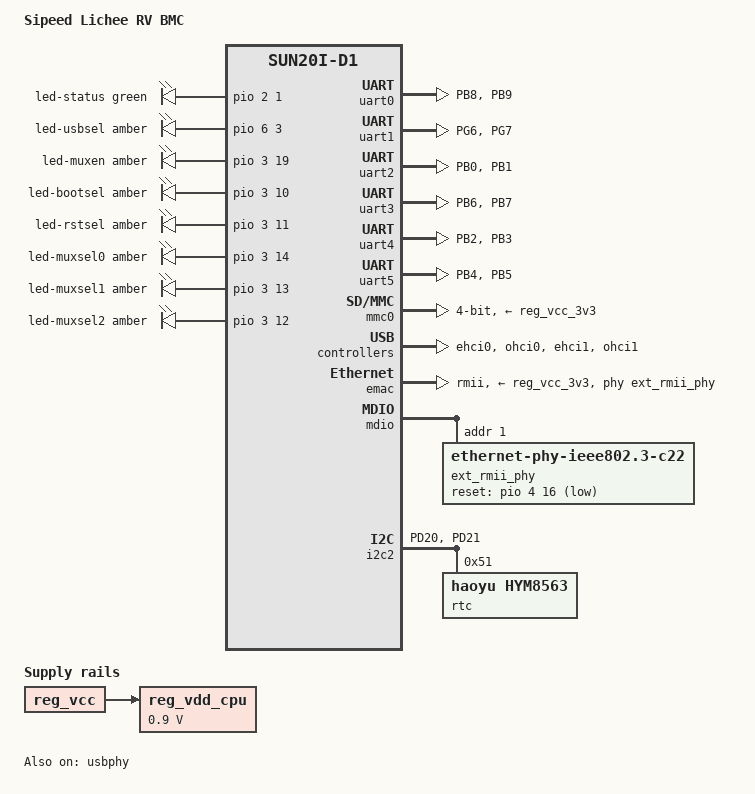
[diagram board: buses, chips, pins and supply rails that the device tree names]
// SPDX-License-Identifier: (GPL-2.0+ or MIT)
// Copyright (C) 2022 Jisheng Zhang <jszhang@kernel.org>
// Copyright (C) 2022 Samuel Holland <samuel@sholland.org>

/dts-v1/;

#include <dt-bindings/gpio/gpio.h>
#include <dt-bindings/leds/common.h>

#include "sun20i-d1.dtsi"
#include "sun20i-d1-common-regulators.dtsi"

/ {
	model = "Sipeed Lichee RV BMC";
	compatible = "sipeed,lichee-rv", "allwinner,sun20i-d1";

	aliases {
		mmc0 = &mmc0;
		serial0 = &uart0;
	};

	chosen {
		stdout-path = "serial0:115200n8";
	};

	leds {
		compatible = "gpio-leds";

		led-status {
			color = <LED_COLOR_ID_GREEN>;
			function = LED_FUNCTION_HEARTBEAT;
			gpios = <&pio 2 1 GPIO_ACTIVE_HIGH>; /* PC1 */
			linux,default-trigger = "heartbeat";
		};
		led-usbsel {
			color = <LED_COLOR_ID_AMBER>;
			function = "usbsel";
			gpios = <&pio 6 3 GPIO_ACTIVE_HIGH>; /* PG3 */
			linux,default-trigger = "default-on";
		};
		led-muxen {
			color = <LED_COLOR_ID_AMBER>;
			function = "muxen";
			gpios = <&pio 3 19 GPIO_ACTIVE_HIGH>; /* PD19 */
		};
		led-bootsel {
			color = <LED_COLOR_ID_AMBER>;
			function = "bootsel";
			gpios = <&pio 3 10 GPIO_ACTIVE_HIGH>; /* PD10 */
		};
		led-rstsel {
			color = <LED_COLOR_ID_AMBER>;
			function = "rstsel";
			gpios = <&pio 3 11 GPIO_ACTIVE_HIGH>; /* PD11 */
		};
		led-muxsel0 {
			color = <LED_COLOR_ID_AMBER>;
			function = "muxsel0";
			gpios = <&pio 3 14 GPIO_ACTIVE_HIGH>; /* PD 14 */
			linux,default-trigger = "default-on";
		};
		led-muxsel1 {
			color = <LED_COLOR_ID_AMBER>;
			function = "muxsel1";
			gpios = <&pio 3 13 GPIO_ACTIVE_HIGH>; /* PD 13 */
			linux,default-trigger = "default-on";
		};
		led-muxsel2 {
			color = <LED_COLOR_ID_AMBER>;
			function = "muxsel2";
			gpios = <&pio 3 12 GPIO_ACTIVE_HIGH>; /* PD 12 */
			linux,default-trigger = "default-on";
		};
	};

	reg_vdd_cpu: vdd-cpu {
		compatible = "regulator-fixed";
		regulator-name = "vdd-cpu";
		regulator-min-microvolt = <900000>;
		regulator-max-microvolt = <900000>;
		vin-supply = <&reg_vcc>;
	};
};


&pio {
	uart0_pb8_pins: uart0-pb8-pins {
		pins = "PB8", "PB9";
		function = "uart0";
	};

	uart1_pg6_pins: uart1-pg6-pins {
		pins = "PG6", "PG7";
		function = "uart1";
	};

        uart2_pb0_pins: uart2-pb0-pins {
                pins = "PB0", "PB1";
                function = "uart2"; 
        };

        uart3_pb6_pins: uart3-pb6-pins {
                pins = "PB6", "PB7";
                function = "uart3"; 
	};

	uart4_pb2_pins: uart4-pb2-pins {
                pins = "PB2", "PB3";
                function = "uart4"; 
	};

	uart5_pb4_pins: uart5-pb4-pins {
		pins = "PB4", "PB5";
		function = "uart5"; 
	};

	i2c2_pd20_pins: i2c2-pd20-pins {
		pins = "PD20", "PD21";
		function = "i2c2";
	};

};

&uart0 {
	pinctrl-0 = <&uart0_pb8_pins>;
	pinctrl-names = "default";
	status = "okay";
};

&uart1 {
	pinctrl-0 = <&uart1_pg6_pins>;
	pinctrl-names = "default";
        status = "okay";
};

&uart2 {
	pinctrl-0 = <&uart2_pb0_pins>;
	pinctrl-names = "default";
	status = "okay";
};

&uart3 {
	pinctrl-0 = <&uart3_pb6_pins>;
	pinctrl-names = "default";
	status = "okay";
};

&uart4 {
	pinctrl-0 = <&uart4_pb2_pins>;
	pinctrl-names = "default";
	status = "okay";
};

&uart5 {
	pinctrl-0 = <&uart5_pb4_pins>;
	pinctrl-names = "default";
	status = "okay";
};

&cpu0 {
	cpu-supply = <&reg_vdd_cpu>;
};

&mmc0 {
	broken-cd;
	bus-width = <4>;
	disable-wp;
	vmmc-supply = <&reg_vcc_3v3>;
	vqmmc-supply = <&reg_vcc_3v3>;
	pinctrl-0 = <&mmc0_pins>;
	pinctrl-names = "default";
	status = "okay";
};

&usbphy {
	usb0_vbus-supply = <&reg_vcc>;
	status = "okay";
};

&ehci0 {
	status = "okay";
};

&ohci0 {
	status = "okay";
};

&ehci1 {
	status = "okay";
};

&ohci1 {
	status = "okay";
};

&emac {
	pinctrl-0 = <&rmii_pe_pins>;
	pinctrl-names = "default";
	phy-handle = <&ext_rmii_phy>;
	phy-mode = "rmii";
	phy-supply = <&reg_vcc_3v3>;
	status = "okay";
};

&mdio {
	ext_rmii_phy: ethernet-phy@1 {
		compatible = "ethernet-phy-ieee802.3-c22";
		reg = <1>;
		reset-gpios = <&pio 4 16 GPIO_ACTIVE_LOW>; /* PE 16 */
	};
};

&i2c2 {
	pinctrl-0 = <&i2c2_pd20_pins>;
	pinctrl-names = "default";
	status = "okay";

        rtc@51 {
		compatible = "haoyu,hym8563";
		reg = <0x51>;
		#clock-cells = <0>;
        };
};
